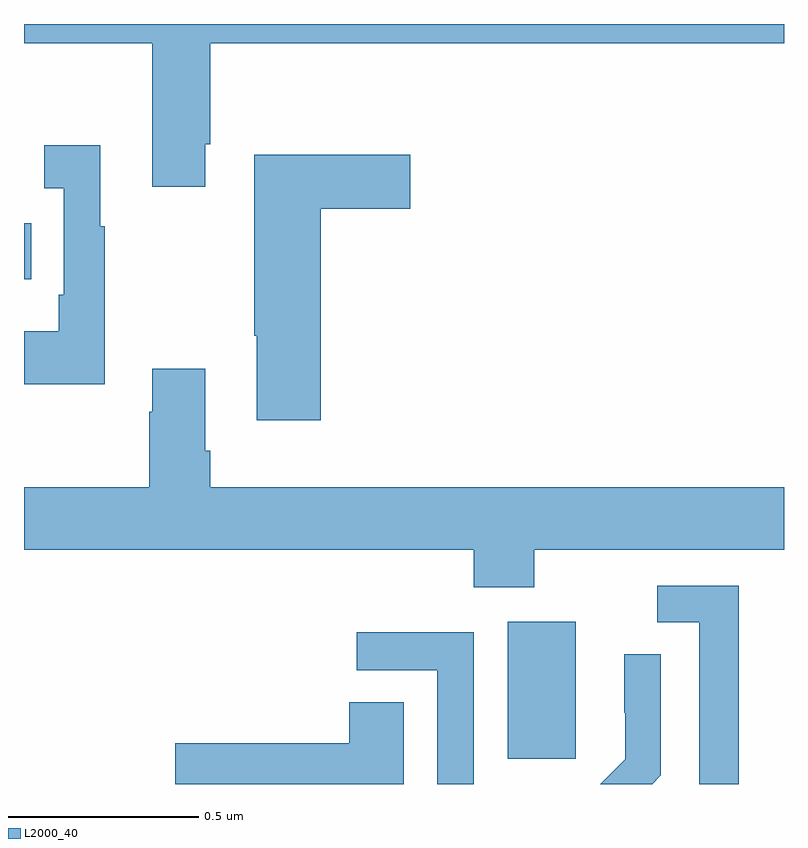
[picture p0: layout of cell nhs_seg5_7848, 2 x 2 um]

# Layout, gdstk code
import gdstk
lib = gdstk.Library(unit=1e-6, precision=1e-09)
def R(c, l, rs):  # rectangles x0, y0, x1, y1
    for r in rs: c.add(gdstk.rectangle(r[:2], r[2:], *l))
def P(c, l, *ps):  # polygons
    for p in ps: c.add(gdstk.Polygon(p, *l))
L2000_40 = (2000, 40)

nhs_seg5_7848 = lib.new_cell('nhs_seg5_7848')
R(nhs_seg5_7848, L2000_40, [(215.273,866.865,215.452,867.226), (214,868.127,214.019,868.275)])
P(nhs_seg5_7848, L2000_40, [(214.477,868.483),(214.49,868.483),(214.49,868.748),(216,868.748),(216,868.799),(214,868.799),(214,868.748),(214.337,868.748),(214.337,868.371),(214.477,868.371)],
  [(214.213,868.267),(214.201,868.267),(214.201,868.48),(214.053,868.48),(214.053,868.367),(214.104,868.367),(214.104,868.087),(214.092,868.087),(214.092,867.991),(214,867.991),(214,867.851),(214.213,867.851)],
  [(214.781,868.313),(215.017,868.313),(215.017,868.455),(214.606,868.455),(214.606,867.979),(214.613,867.979),(214.613,867.756),(214.781,867.756)],
  [(215.343,867.416),(216,867.416),(216,867.58),(214.49,867.58),(214.49,867.676),(214.477,867.676),(214.477,867.892),(214.337,867.892),(214.337,867.779),(214.33,867.779),(214.33,867.58),(214,867.58),(214,867.416),(215.183,867.416),(215.183,867.317),(215.343,867.317)],
  [(215.881,867.321),(215.667,867.321),(215.667,867.225),(215.777,867.225),(215.777,866.799),(215.881,866.799)],
  [(215.184,867.198),(214.875,867.198),(214.875,867.099),(215.088,867.099),(215.088,866.799),(215.184,866.799)],
  [(215.676,866.822),(215.676,867.14),(215.58,867.14),(215.58,866.986),(215.582,866.986),(215.582,866.864),(215.517,866.799),(215.653,866.799)],
  [(214.999,867.014),(214.856,867.014),(214.856,866.906),(214.398,866.906),(214.398,866.799),(214.999,866.799)])

lib.write_gds('nhs_seg5_7848.gds')
